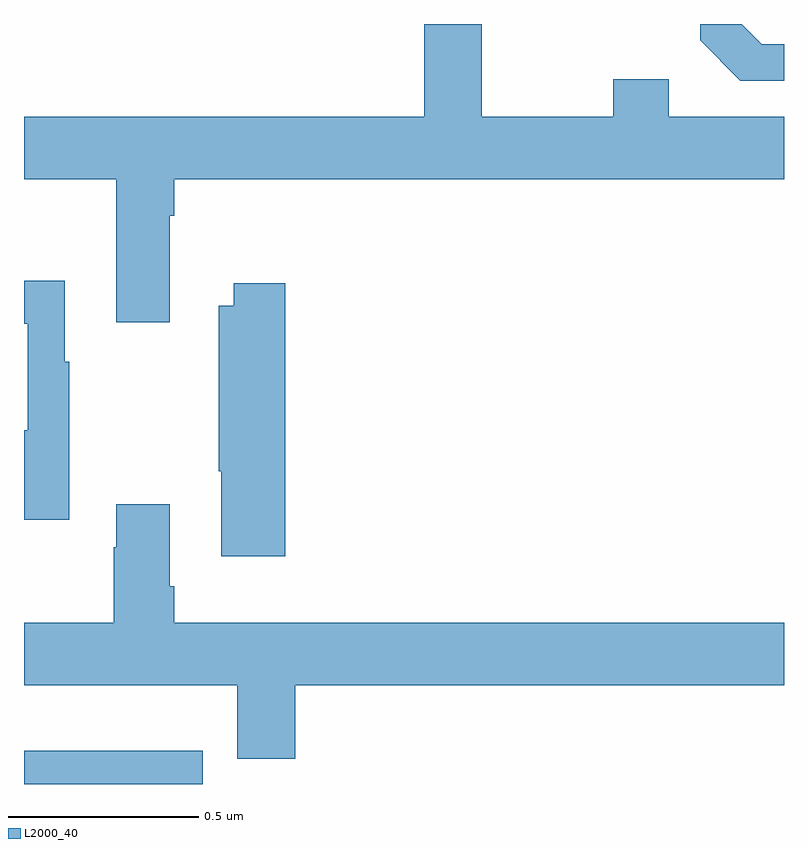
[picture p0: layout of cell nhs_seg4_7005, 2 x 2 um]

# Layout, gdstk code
import gdstk
lib = gdstk.Library(unit=1e-6, precision=1e-09)
def R(c, l, rs):  # rectangles x0, y0, x1, y1
    for r in rs: c.add(gdstk.rectangle(r[:2], r[2:], *l))
def P(c, l, *ps):  # polygons
    for p in ps: c.add(gdstk.Polygon(p, *l))
L2000_40 = (2000, 40)

nhs_seg4_7005 = lib.new_cell('nhs_seg4_7005')
R(nhs_seg4_7005, L2000_40, [(197.001,789.9,197.47,789.988)])
P(nhs_seg4_7005, L2000_40, [(197.383,791.396),(197.396,791.396),(197.396,791.492),(199,791.492),(199,791.656),(198.697,791.656),(198.697,791.755),(198.55,791.755),(198.55,791.656),(198.205,791.656),(198.205,791.9),(198.053,791.9),(198.053,791.656),(197,791.656),(197,791.492),(197.243,791.492),(197.243,791.115),(197.383,791.115)],
  [(199,791.847),(198.942,791.847),(198.889,791.9),(198.78,791.9),(198.78,791.857),(198.885,791.751),(199,791.751)],
  [(197.119,791.011),(197.107,791.011),(197.107,791.224),(197,791.224),(197,791.111),(197.01,791.111),(197.01,790.831),(197,790.831),(197,790.595),(197.119,790.595)],
  [(197.687,791.218),(197.552,791.218),(197.552,791.158),(197.512,791.158),(197.512,790.723),(197.519,790.723),(197.519,790.5),(197.687,790.5)],
  [(197.714,790.16),(199,790.16),(199,790.324),(197.396,790.324),(197.396,790.42),(197.383,790.42),(197.383,790.636),(197.243,790.636),(197.243,790.523),(197.236,790.523),(197.236,790.324),(197,790.324),(197,790.16),(197.561,790.16),(197.561,789.966),(197.714,789.966)])

lib.write_gds('nhs_seg4_7005.gds')
